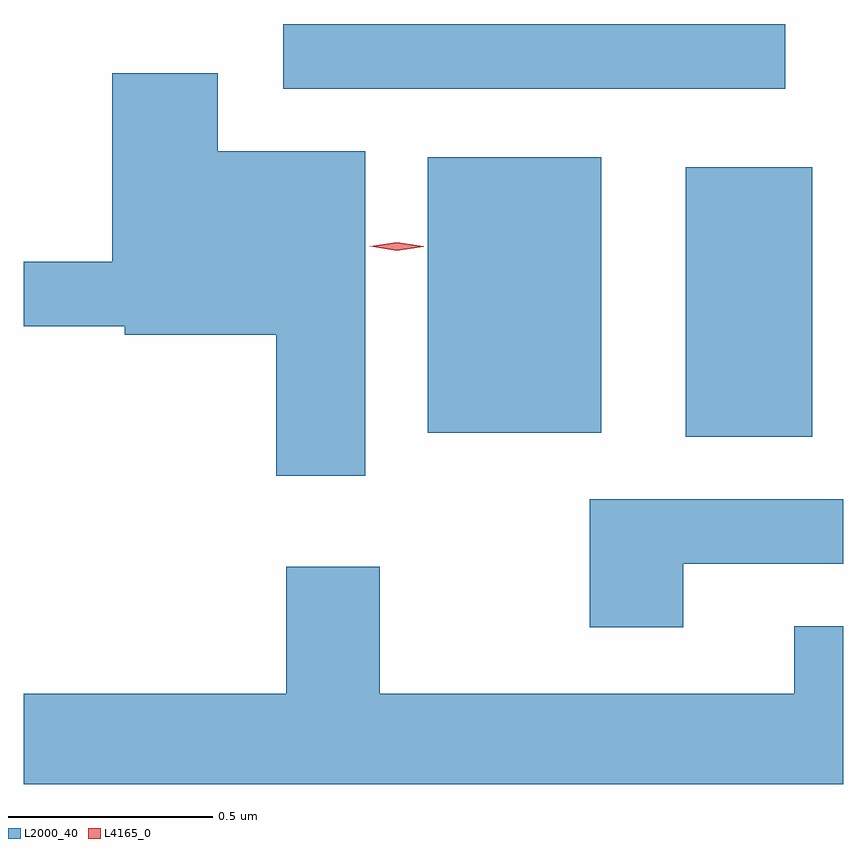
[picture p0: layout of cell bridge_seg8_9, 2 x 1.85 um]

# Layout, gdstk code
import gdstk
lib = gdstk.Library(unit=1e-6, precision=1e-09)
def R(c, l, rs):  # rectangles x0, y0, x1, y1
    for r in rs: c.add(gdstk.rectangle(r[:2], r[2:], *l))
def P(c, l, *ps):  # polygons
    for p in ps: c.add(gdstk.Polygon(p, *l))
L2000_40 = (2000, 40)
L4165_0 = (4165, 0)

bridge_seg8_9 = lib.new_cell('bridge_seg8_9')
R(bridge_seg8_9, L2000_40, [(1664.106,1928.331,1664.414,1928.989), (1663.476,1928.341,1663.899,1929.014), (1663.123,1929.181,1664.348,1929.339)])
P(bridge_seg8_9, L2000_40, [(1663.324,1929.029),(1662.964,1929.029),(1662.964,1929.219),(1662.706,1929.219),(1662.706,1928.759),(1662.49,1928.759),(1662.49,1928.601),(1662.736,1928.601),(1662.736,1928.581),(1663.106,1928.581),(1663.106,1928.236),(1663.324,1928.236)],
  [(1664.099,1928.021),(1664.49,1928.021),(1664.49,1928.179),(1663.871,1928.179),(1663.871,1927.866),(1664.099,1927.866)],
  [(1664.49,1927.869),(1664.371,1927.869),(1664.371,1927.704),(1663.359,1927.704),(1663.359,1928.014),(1663.131,1928.014),(1663.131,1927.704),(1662.49,1927.704),(1662.49,1927.484),(1664.49,1927.484)])
P(bridge_seg8_9, L4165_0, [(1663.4,1928.786),(1663.334,1928.796),(1663.333,1928.796),(1663.334,1928.797),(1663.4,1928.806),(1663.466,1928.796),(1663.466,1928.796),(1663.466,1928.795)])

lib.write_gds('bridge_seg8_9.gds')
